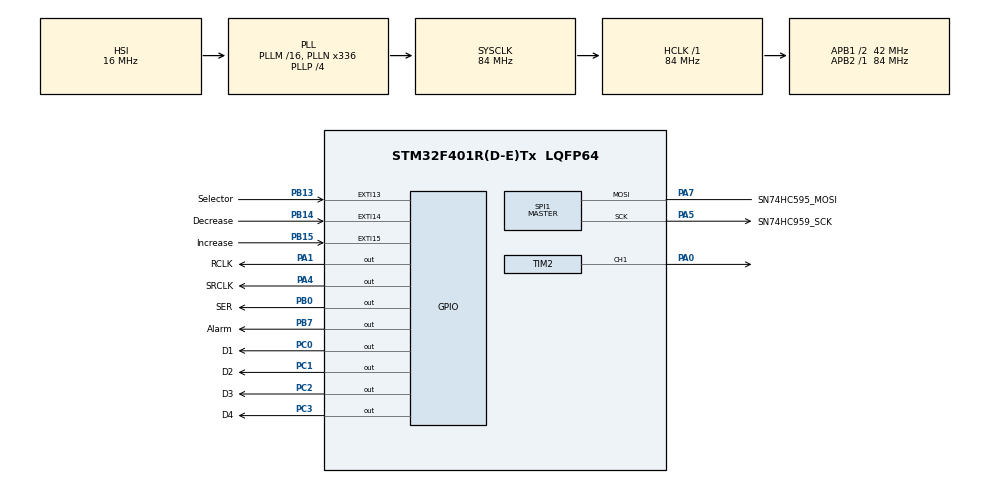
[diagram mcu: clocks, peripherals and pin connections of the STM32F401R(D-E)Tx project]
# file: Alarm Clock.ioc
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Dma.Request0=SPI1_TX
Dma.SPI1_TX.0.Direction=DMA_MEMORY_TO_PERIPH
Dma.SPI1_TX.0.FIFOMode=DMA_FIFOMODE_DISABLE
Dma.SPI1_TX.0.Instance=DMA2_Stream3
Dma.SPI1_TX.0.MemDataAlignment=DMA_MDATAALIGN_BYTE
Dma.SPI1_TX.0.MemInc=DMA_MINC_ENABLE
Dma.SPI1_TX.0.Mode=DMA_NORMAL
Dma.SPI1_TX.0.PeriphDataAlignment=DMA_PDATAALIGN_BYTE
Dma.SPI1_TX.0.PeriphInc=DMA_PINC_DISABLE
Dma.SPI1_TX.0.Priority=DMA_PRIORITY_LOW
Mcu.Family=STM32F4
Mcu.Name=STM32F401R(D-E)Tx
Mcu.Package=LQFP64
NVIC.DMA2_Stream3_IRQn=true\:0\:0\:false\:false\:true\:false\:true\:true
NVIC.EXTI15_10_IRQn=true\:0\:0\:false\:false\:true\:true\:true\:true
NVIC.PriorityGroup=NVIC_PRIORITYGROUP_4
NVIC.RTC_Alarm_IRQn=true\:0\:0\:false\:false\:true\:true\:true\:true
PA0-WKUP.Signal=S_TIM2_CH1_ETR
PA1.GPIO_Label=RCLK
PA1.Signal=GPIO_Output
PA13.GPIO_Label=TMS
PA13.Mode=Trace_Asynchronous_SW
PA13.Signal=SYS_JTMS-SWDIO
PA14.GPIO_Label=TCK
PA14.Mode=Trace_Asynchronous_SW
PA14.Signal=SYS_JTCK-SWCLK
PA4.GPIO_Label=SRCLK
PA4.Signal=GPIO_Output
PA5.GPIO_Label=SN74HC959_SCK
PA5.Mode=Simplex_Bidirectional_Master
PA5.Signal=SPI1_SCK
PA7.GPIO_Label=SN74HC595_MOSI
PA7.Mode=Simplex_Bidirectional_Master
PA7.Signal=SPI1_MOSI
PB0.GPIO_Label=SER
PB0.Signal=GPIO_Output
PB13.GPIO_Label=Selector
PB13.GPIO_PuPd=GPIO_PULLDOWN
PB13.Signal=GPXTI13
PB14.GPIO_Label=Decrease
PB14.GPIO_PuPd=GPIO_PULLDOWN
PB14.Signal=GPXTI14
PB15.GPIO_Label=Increase
PB15.GPIO_PuPd=GPIO_PULLDOWN
PB15.Signal=GPXTI15
PB3.GPIO_Label=SWO
PB3.Mode=Trace_Asynchronous_SW
PB3.Signal=SYS_JTDO-SWO
PB7.GPIO_Label=Alarm
PB7.Signal=GPIO_Output
PC0.GPIO_Label=D1
PC0.Signal=GPIO_Output
PC1.GPIO_Label=D2
PC1.Signal=GPIO_Output
PC14-OSC32_IN.Mode=LSE-External-Oscillator
PC14-OSC32_IN.Signal=RCC_OSC32_IN
PC15-OSC32_OUT.Mode=LSE-External-Oscillator
PC15-OSC32_OUT.Signal=RCC_OSC32_OUT
PC2.GPIO_Label=D3
PC2.Signal=GPIO_Output
PC3.GPIO_Label=D4
PC3.Signal=GPIO_Output
PH0\ -\ OSC_IN.Mode=HSE-External-Clock-Source
PH0\ -\ OSC_IN.Signal=RCC_OSC_IN
PH1\ -\ OSC_OUT.Mode=HSE-External-Clock-Source
PH1\ -\ OSC_OUT.Signal=RCC_OSC_OUT
ProjectManager.HeapSize=0x200
ProjectManager.StackSize=0x400
ProjectManager.TargetToolchain=STM32CubeIDE
RCC.48MHZClocksFreq_Value=48000000
RCC.AHBFreq_Value=84000000
RCC.APB1CLKDivider=RCC_HCLK_DIV2
RCC.APB1Freq_Value=42000000
RCC.APB1TimFreq_Value=84000000
RCC.APB2Freq_Value=84000000
RCC.APB2TimFreq_Value=84000000
RCC.CortexFreq_Value=84000000
RCC.HCLKFreq_Value=84000000
RCC.HSE_VALUE=8000000
RCC.HSI_VALUE=16000000
RCC.PLLN=336
RCC.PLLP=RCC_PLLP_DIV4
RCC.PLLQ=7
RCC.SYSCLKFreq_VALUE=84000000
RCC.SYSCLKSource=RCC_SYSCLKSOURCE_PLLCLK
RCC.VCOOutputFreq_Value=336000000
RTC.Alarm=RTC_ALARM_A
RTC.Seconds=1
SH.S_TIM2_CH1_ETR.0=TIM2_CH1,PWM Generation1 CH1
SPI1.Direction=SPI_DIRECTION_1LINE
SPI1.Mode=SPI_MODE_MASTER
SPI1.VirtualType=VM_MASTER
TIM2.AutoReloadPreload=TIM_AUTORELOAD_PRELOAD_ENABLE
TIM2.Channel-PWM\ Generation1\ CH1=TIM_CHANNEL_1
TIM2.Period=300
VP_RTC_VS_RTC_Activate.Mode=RTC_Enabled
VP_RTC_VS_RTC_Alarm_A_Intern.Mode=Alarm A
VP_RTC_VS_RTC_Calendar.Mode=RTC_Calendar
board=NUCLEO-F401RE

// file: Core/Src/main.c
/* USER CODE BEGIN Header */
/**
  ******************************************************************************
  * @file           : main.c
  * @brief          : Main program body
  ******************************************************************************
  * @attention
  *
  * Copyright (c) 2025 STMicroelectronics.
  * All rights reserved.
  *
  * This software is licensed under terms that can be found in the LICENSE file
  * in the root directory of this software component.
  * If no LICENSE file comes with this software, it is provided AS-IS.
  *
  ******************************************************************************
  */
/* USER CODE END Header */
#include "main.h"

/* USER CODE BEGIN Includes */

#include <stdbool.h>

/* USER CODE END Includes */

RTC_HandleTypeDef hrtc;

SPI_HandleTypeDef hspi1;
DMA_HandleTypeDef hdma_spi1_tx;

TIM_HandleTypeDef htim2;

void SystemClock_Config(void);
static void MX_GPIO_Init(void);
static void MX_DMA_Init(void);
static void MX_RTC_Init(void);
static void MX_TIM2_Init(void);
static void MX_SPI1_Init(void);

/* USER CODE BEGIN 0 */

uint8_t Nums[11];
uint8_t Chars[27];

uint8_t char_bit_map[128] = {
    0, 0, 0, 0, 0, 0, 0, 0, 0, 0, 0, 0, 0, 0, 0, 0, 0, 0, 0, 0, 0, 0, 0, 0, 0, 0, 0, 0, 0, 0, 0, 0, 0, 0, 0, 0, 0, 0, 0, 0, 0, 0, 0, 0, 0, 0, 0, 0,
  	0b11111100, // 0
		0b01100000, // 1
		0b11011010, // 2
		0b11110010, // 3
		0b01100110, // 4
		0b10110110, // 5
		0b10111110, // 6
		0b11100000, // 7
		0b11111110, // 8
		0b11110110, // 9
    0, 0, 0, 0, 0, 0, 0, 0, 0, 0, 0, 0, 0, 0, 0, 0, 0, 0, 0, 0, 0, 0, 0, 0, 0, 0, 0, 0, 0, 0, 0, 0, 0, 0, 0, 0, 0, 0, 0,
    0b11101110,	// a
		0b00111110,	// b
		0b10011100,	// c
		0b01111010,	// d
		0b10011110,	// e
		0b10001110,	// f
		0b10111100,	// g
		0b01101110,	// h
		0b00001100,	// i
		0b01111000,	// j
		0b00000000,	//
		0b00011100,	// l
		0b11010100,	// m
		0b00101010,	// n
		0b11111100,	// o
		0b11001110,	// p
		0b11100110,	// q
		0b00001010,	// r
		0b10110110,	// s
		0b00011110,	// t
		0b00111000,	// u
		0b01111100,	// v
		0b00000000,	//
		0b00000000,	//
		0b01110110,	// y
		0b00000000, //
		0b00000000	// Empty character ( { )
};

sn74hc595_cfg_t hw_cfg;
volatile uint8_t current_digit = 0;
uint8_t display_buffer[4] = { '{', '{', '{', '{',};
uint8_t selectorMode = 0;
uint16_t counterNum = 0;
//uint8_t volume = 10;
uint8_t counterPeriod = htim2.Init.Period; //Find a way to access this value from the code
uint16_t maxDutyCycle = counterPeriod;
uint16_t dutyCycle = 0;
bool alarmSet = false;
bool alarmSounding = false;
bool militaryTime = false;
bool alarmChecked = false;
uint8_t currentTime[5] = {1, 2, 0, 0, 0};
uint8_t maxTime[4] = {1, 2, 5, 9};
uint8_t alarmTime[5] = {0, 0, 0, 0, 0};
void updateTime(){
	currentTime[3] += 1;
	for(int i = 3; i >= 0; i--){
		if(currentTime[i] > maxTime[i]){
			currentTime[i] = 0;
			if(i != 0){
				currentTime[i - 1] += 1;
			}
		}
	}
	if(currentTime[0] == 0 && currentTime[1] == 0){
		if(militaryTime == true){
			currentTime[1] = 0;
		} else {
			currentTime[1] = 1;
			if(currentTime[5] == 1){
				currentTime[5] = 0;
			} else {
				currentTime[5] = 1;
			};
		}
	}
	alarmChecked = false;
};
// void shiftBit(bool bit){
// 	/*This is the reverse since I did the entire codebase thinking that my
// 	display was a common cathode when it wasn't, so changing this one thing
// 	was faster than changing everything else*/
// 	if(bit){
// 		HAL_GPIO_WritePin(SER_GPIO_Port, SER_Pin, GPIO_PIN_RESET);
// 	} else {
// 		HAL_GPIO_WritePin(SER_GPIO_Port, SER_Pin, GPIO_PIN_SET);
// 	}
// 	HAL_GPIO_WritePin(SRCLK_GPIO_Port, SRCLK_Pin, GPIO_PIN_SET);
// 	HAL_GPIO_WritePin(SRCLK_GPIO_Port, SRCLK_Pin, GPIO_PIN_RESET);
// };

void activate_display(uint8_t char_0, uint8_t char_1, uint8_t char_2, uint8_t char_3, uint8_t dot_location){
  display_buffer[0] = char_bit_map[char_0] | (dot_location == 0) ? 0b00000001 : 0;
  display_buffer[1] = char_bit_map[char_1] | (dot_location == 1) ? 0b00000001 : 0;
  display_buffer[2] = char_bit_map[char_2] | (dot_location == 2) ? 0b00000001 : 0;
  display_buffer[3] = char_bit_map[char_3] | (dot_location == 3) ? 0b00000001 : 0;
};

void changeTimeOrAlarm(uint8_t *arr){
	uint8_t newTime[4] = {8, 8, 8, 8};
	for(int i = 0; i < 4; i++){
		while(selectorMode == 0){
			switch(i){
				case 0:
					activateDisplay(counterNum, newTime[1], newTime[2], newTime[3]);
					if(counterNum > maxTime[i]){
						counterNum = maxTime[i];
					}
					break;
				case 1:
					activateDisplay(newTime[0], counterNum, newTime[2], newTime[3]);
					if(counterNum > maxTime[i]){
						counterNum = maxTime[i];
					}
					break;
				case 2:
					activateDisplay(newTime[0], newTime[1], counterNum, newTime[3]);
					if(counterNum > maxTime[i]){
						counterNum = maxTime[i];
					}
					break;
				case 3:
					activateDisplay(newTime[0], newTime[1], newTime[2], counterNum);
						if(counterNum > maxTime[i]){
							counterNum = maxTime[i];
						}
					break;
			}
		}
		newTime[i] = counterNum;
		counterNum = 0;
		selectorMode = 0;
		if(newTime[0] == 0){
			newTime[0] = 10;
		}
	}
	if(militaryTime == false){
		while(selectorMode == 0){
			if(counterNum % 2 == 0){
				activateDisplay('a', 'm', '{', '{');
			} else {
				activateDisplay('{', '{', 'p', 'm');
			}
		}
		// LED dot at the end indicates PM
		if(counterNum % 2 == 0){
			newTime[4] = 0;
		} else {
			newTime[4] = 1;
		}
	}
	for(int i = 0; i < 5; i++){
		arr[i] = newTime[i];
	}
};
void HAL_GPIO_EXTI_Callback(uint16_t GPIO_Pin)
{
 	 if(GPIO_Pin == Selector_Pin){
 		 selectorMode += 1;
 	 } else if (GPIO_Pin == Decrease_Pin){
 		 if(counterNum > 0){
 			 counterNum--;
 		 }
 	 } else if (GPIO_Pin == Increase_Pin){
 		 counterNum++;
 }
}

/* USER CODE END 0 */

int main(void)
{

  /* MCU Configuration--------------------------------------------------------*/

  /* Reset of all peripherals, Initializes the Flash interface and the Systick. */
  HAL_Init();

  /* Configure the system clock */
  SystemClock_Config();

  /* Initialize all configured peripherals */
  MX_GPIO_Init();
  MX_DMA_Init();
  MX_RTC_Init();
  MX_TIM2_Init();
  MX_SPI1_Init();
  /* USER CODE BEGIN 2 */

  HAL_TIM_PWM_Start(&htim2, TIM_CHANNEL_1);
  HAL_TIM_Base_Start_IT(&htim2);
  if (sn74hc595_config( &hw_cfg, &hspi1, RCLK_GPIO_Port, RCLK_Pin, 3) != 0){
    return -1;
  }

  HAL_SPI_Transmit_DMA(&hspi1, 0x00, 1);

  /* USER CODE END 2 */

  /* Infinite loop */
  /* USER CODE BEGIN WHILE */
  while (1)
  {
	  activateDisplay(currentTime[0], currentTime[1], currentTime[2], currentTime[3], currentTime[4]);

	  if(selectorMode > 0){

		if(alarmSounding == true){
			alarmSounding = false;
			TIM2->CCR1 = 0;

		} else {

		  counterNum = 0;
		  selectorMode = 1;

		  while(selectorMode == 1){
			  switch(counterNum){
				case 0: activateDisplay('a', 'l', 'r', 'm'); break;
				case 1: activateDisplay('t', 'i', 'm', 'e'); break;
				//case 2: activateDisplay('v', 'o', 'l'); break;
				case 2: activateDisplay('l', 'e', 'd', '{'); break;
				case 3:	if(militaryTime){activateDisplay(2, 4, 'h', 'r');} else {activateDisplay(1, 2, 'h', 'r');}; break;
				case 4: activateDisplay('c', 'n', 'c', 'l'); break;
				case 5: counterNum--; break;
				default: counterNum = 0;
			  }
		  }

		  selectorMode = 0;
		  if(counterNum == 0){
			  changeTimeOrAlarm(alarmTime);

		  } else if(counterNum == 1){
			counterNum = 0;
			changeTimeOrAlarm(currentTime);
		  } /* else if(counterNum == 2){
			counterNum = 0;
			while(selectorMode == 0){
				if(counterNum > 9){
					activateDisplay('t', 'o', 'p');
					counterNum = 10;
				} else {
					activateDisplay('v', 'o', 'l', counterNum);
				}
			}
			volume = counterNum;
			selectorMode = 0;
		  } */ else if(counterNum == 2){
			counterNum = 0;
			while(selectorMode == 0){
				if(counterNum > 9){
					activateDisplay('t', 'o', 'p', '{');
					counterNum = 10;
				} else {
					activateDisplay('l', 'e', 'd', counterNum);
				}
			}
			maxDutyCycle = (counterPeriod * counterNum ) / 10;
			selectorMode = 0;
		  }	else if (counterNum == 3){
			counterNum = 0;
				while(selectorMode == 0){
					if(counterNum % 2 == 0){
						activateDisplay(1, 2, 'h', 'r');
					} else {
						activateDisplay(2, 4, 'h', 'r');
					}
					if(counterNum % 2 == 0){
					militaryTime = false;
					} else {
					militaryTime = true;
					}
				}
				if(militaryTime == false){
					if(currentTime[0] > 1 || currentTime[1] > 2){
						int temp = currentTime[1] - 2;
						if(temp == -1){
							currentTime[1] = 9;
						} else if(temp == -2){
							currentTime[1] = 2;
						} else {
							currentTime[1] = temp;
						}
						currentTime[0] -= 1;
						currentTime[4] = 1;
					}
				}
				if(militaryTime == true && currentTime[4] == 1){
					currentTime[0] += 1;
					currentTime[1] += 2;
					currentTime[4] = 0;
				}
		  } else if (counterNum == 4){
			  counterNum = 0;
		  }
		 }
	  }
	  if(alarmSet == true && alarmChecked == false){
		if(militaryTime == true){
			if( alarmTime[3] == currentTime[3] &&
				alarmTime[2] == currentTime[2] &&
  	   	   	  ((alarmTime[1] == currentTime[1] ) ||
  	   	   	   (alarmTime[1] == 0 && currentTime[1] == 3) )){
					TIM2->CCR1 = maxDutyCycle / 6;
			} else {
				for(int i = 5; i > 0; i--){
					if( (currentTime[2] + i) == alarmTime[2] ){
						TIM2->CCR1 = maxDutyCycle - maxDutyCycle * i / 6;
						break;
					}
				}
			alarmChecked = true;
			}
		} else {
			if(alarmTime[3] == currentTime[3] && alarmTime[2] == currentTime[2] &&
  	   	   ( (alarmTime[1] == currentTime[1] ) || ((alarmTime[1] == 1 && currentTime[1] == 12) && (alarmTime[5] != currentTime[5]) ) )){
				TIM2->CCR1 = maxDutyCycle / 6;
			} else {
				for(int i = 5; i > 0; i--){
					if( (currentTime[2] + i) == alarmTime[2] ){
						TIM2->CCR1 = maxDutyCycle - maxDutyCycle * i / 6;
						break;
					}
				}
				alarmChecked = true;
			}
		}
	  }
    /* USER CODE END WHILE */

  }
}

void SystemClock_Config(void)
{
  RCC_OscInitTypeDef RCC_OscInitStruct = {0};
  RCC_ClkInitTypeDef RCC_ClkInitStruct = {0};

  /** Configure the main internal regulator output voltage
  */
  __HAL_RCC_PWR_CLK_ENABLE();
  __HAL_PWR_VOLTAGESCALING_CONFIG(PWR_REGULATOR_VOLTAGE_SCALE2);

  /** Initializes the RCC Oscillators according to the specified parameters
  * in the RCC_OscInitTypeDef structure.
  */
  RCC_OscInitStruct.OscillatorType = RCC_OSCILLATORTYPE_HSI|RCC_OSCILLATORTYPE_LSI;
  RCC_OscInitStruct.HSIState = RCC_HSI_ON;
  RCC_OscInitStruct.HSICalibrationValue = RCC_HSICALIBRATION_DEFAULT;
  RCC_OscInitStruct.LSIState = RCC_LSI_ON;
  RCC_OscInitStruct.PLL.PLLState = RCC_PLL_ON;
  RCC_OscInitStruct.PLL.PLLSource = RCC_PLLSOURCE_HSI;
  RCC_OscInitStruct.PLL.PLLM = 16;
  RCC_OscInitStruct.PLL.PLLN = 336;
  RCC_OscInitStruct.PLL.PLLP = RCC_PLLP_DIV4;
  RCC_OscInitStruct.PLL.PLLQ = 7;
  if (HAL_RCC_OscConfig(&RCC_OscInitStruct) != HAL_OK)
  {
    Error_Handler();
  }

  /** Initializes the CPU, AHB and APB buses clocks
  */
  RCC_ClkInitStruct.ClockType = RCC_CLOCKTYPE_HCLK|RCC_CLOCKTYPE_SYSCLK
                              |RCC_CLOCKTYPE_PCLK1|RCC_CLOCKTYPE_PCLK2;
  RCC_ClkInitStruct.SYSCLKSource = RCC_SYSCLKSOURCE_PLLCLK;
  RCC_ClkInitStruct.AHBCLKDivider = RCC_SYSCLK_DIV1;
  RCC_ClkInitStruct.APB1CLKDivider = RCC_HCLK_DIV2;
  RCC_ClkInitStruct.APB2CLKDivider = RCC_HCLK_DIV1;

  if (HAL_RCC_ClockConfig(&RCC_ClkInitStruct, FLASH_LATENCY_2) != HAL_OK)
  {
    Error_Handler();
  }
}

static void MX_RTC_Init(void)
{

  RTC_TimeTypeDef sTime = {0};
  RTC_DateTypeDef sDate = {0};
  RTC_AlarmTypeDef sAlarm = {0};

  /** Initialize RTC Only
  */
  hrtc.Instance = RTC;
  hrtc.Init.HourFormat = RTC_HOURFORMAT_24;
  hrtc.Init.AsynchPrediv = 127;
  hrtc.Init.SynchPrediv = 255;
  hrtc.Init.OutPut = RTC_OUTPUT_DISABLE;
  hrtc.Init.OutPutPolarity = RTC_OUTPUT_POLARITY_HIGH;
  hrtc.Init.OutPutType = RTC_OUTPUT_TYPE_OPENDRAIN;
  if (HAL_RTC_Init(&hrtc) != HAL_OK)
  {
    Error_Handler();
  }

  /** Initialize RTC and set the Time and Date
  */
  sTime.Hours = 0x0;
  sTime.Minutes = 0x0;
  sTime.Seconds = 0x1;
  sTime.DayLightSaving = RTC_DAYLIGHTSAVING_NONE;
  sTime.StoreOperation = RTC_STOREOPERATION_RESET;
  if (HAL_RTC_SetTime(&hrtc, &sTime, RTC_FORMAT_BCD) != HAL_OK)
  {
    Error_Handler();
  }
  sDate.WeekDay = RTC_WEEKDAY_MONDAY;
  sDate.Month = RTC_MONTH_JANUARY;
  sDate.Date = 0x1;
  sDate.Year = 0x0;

  if (HAL_RTC_SetDate(&hrtc, &sDate, RTC_FORMAT_BCD) != HAL_OK)
  {
    Error_Handler();
  }

  /** Enable the Alarm A
  */
  sAlarm.AlarmTime.Hours = 0x0;
  sAlarm.AlarmTime.Minutes = 0x0;
  sAlarm.AlarmTime.Seconds = 0x0;
  sAlarm.AlarmTime.SubSeconds = 0x0;
  sAlarm.AlarmTime.DayLightSaving = RTC_DAYLIGHTSAVING_NONE;
  sAlarm.AlarmTime.StoreOperation = RTC_STOREOPERATION_RESET;
  sAlarm.AlarmMask = RTC_ALARMMASK_NONE;
  sAlarm.AlarmSubSecondMask = RTC_ALARMSUBSECONDMASK_ALL;
  sAlarm.AlarmDateWeekDaySel = RTC_ALARMDATEWEEKDAYSEL_DATE;
  sAlarm.AlarmDateWeekDay = 0x1;
  sAlarm.Alarm = RTC_ALARM_A;
  if (HAL_RTC_SetAlarm_IT(&hrtc, &sAlarm, RTC_FORMAT_BCD) != HAL_OK)
  {
    Error_Handler();
  }

}

static void MX_SPI1_Init(void)
{

  /* SPI1 parameter configuration*/
  hspi1.Instance = SPI1;
  hspi1.Init.Mode = SPI_MODE_MASTER;
  hspi1.Init.Direction = SPI_DIRECTION_1LINE;
  hspi1.Init.DataSize = SPI_DATASIZE_8BIT;
  hspi1.Init.CLKPolarity = SPI_POLARITY_LOW;
  hspi1.Init.CLKPhase = SPI_PHASE_1EDGE;
  hspi1.Init.NSS = SPI_NSS_SOFT;
  hspi1.Init.BaudRatePrescaler = SPI_BAUDRATEPRESCALER_2;
  hspi1.Init.FirstBit = SPI_FIRSTBIT_MSB;
  hspi1.Init.TIMode = SPI_TIMODE_DISABLE;
  hspi1.Init.CRCCalculation = SPI_CRCCALCULATION_DISABLE;
  hspi1.Init.CRCPolynomial = 10;
  if (HAL_SPI_Init(&hspi1) != HAL_OK)
  {
    Error_Handler();
  }

}

static void MX_TIM2_Init(void)
{

  TIM_MasterConfigTypeDef sMasterConfig = {0};
  TIM_OC_InitTypeDef sConfigOC = {0};

  htim2.Instance = TIM2;
  htim2.Init.Prescaler = 0;
  htim2.Init.CounterMode = TIM_COUNTERMODE_UP;
  htim2.Init.Period = 300;
  htim2.Init.ClockDivision = TIM_CLOCKDIVISION_DIV1;
  htim2.Init.AutoReloadPreload = TIM_AUTORELOAD_PRELOAD_ENABLE;
  if (HAL_TIM_PWM_Init(&htim2) != HAL_OK)
  {
    Error_Handler();
  }
  sMasterConfig.MasterOutputTrigger = TIM_TRGO_RESET;
  sMasterConfig.MasterSlaveMode = TIM_MASTERSLAVEMODE_DISABLE;
  if (HAL_TIMEx_MasterConfigSynchronization(&htim2, &sMasterConfig) != HAL_OK)
  {
    Error_Handler();
  }
  sConfigOC.OCMode = TIM_OCMODE_PWM1;
  sConfigOC.Pulse = 0;
  sConfigOC.OCPolarity = TIM_OCPOLARITY_HIGH;
  sConfigOC.OCFastMode = TIM_OCFAST_DISABLE;
  if (HAL_TIM_PWM_ConfigChannel(&htim2, &sConfigOC, TIM_CHANNEL_1) != HAL_OK)
  {
    Error_Handler();
  }
  HAL_TIM_MspPostInit(&htim2);

}

static void MX_DMA_Init(void)
{

  /* DMA controller clock enable */
  __HAL_RCC_DMA2_CLK_ENABLE();

  /* DMA interrupt init */
  /* DMA2_Stream3_IRQn interrupt configuration */
  HAL_NVIC_SetPriority(DMA2_Stream3_IRQn, 0, 0);
  HAL_NVIC_EnableIRQ(DMA2_Stream3_IRQn);

}

static void MX_GPIO_Init(void)
{
  GPIO_InitTypeDef GPIO_InitStruct = {0};

  /* GPIO Ports Clock Enable */
  __HAL_RCC_GPIOC_CLK_ENABLE();
  __HAL_RCC_GPIOH_CLK_ENABLE();
  __HAL_RCC_GPIOA_CLK_ENABLE();
  __HAL_RCC_GPIOB_CLK_ENABLE();

  /*Configure GPIO pin Output Level */
  HAL_GPIO_WritePin(GPIOC, D1_Pin|D2_Pin|D3_Pin|D4_Pin, GPIO_PIN_RESET);

  /*Configure GPIO pin Output Level */
  HAL_GPIO_WritePin(GPIOA, RCLK_Pin|SRCLK_Pin, GPIO_PIN_RESET);

  /*Configure GPIO pin Output Level */
  HAL_GPIO_WritePin(GPIOB, SER_Pin|Alarm_Pin, GPIO_PIN_RESET);

  /*Configure GPIO pins : D1_Pin D2_Pin D3_Pin D4_Pin */
  GPIO_InitStruct.Pin = D1_Pin|D2_Pin|D3_Pin|D4_Pin;
  GPIO_InitStruct.Mode = GPIO_MODE_OUTPUT_PP;
  GPIO_InitStruct.Pull = GPIO_NOPULL;
  GPIO_InitStruct.Speed = GPIO_SPEED_FREQ_LOW;
  HAL_GPIO_Init(GPIOC, &GPIO_InitStruct);

  /*Configure GPIO pins : RCLK_Pin SRCLK_Pin */
  GPIO_InitStruct.Pin = RCLK_Pin|SRCLK_Pin;
  GPIO_InitStruct.Mode = GPIO_MODE_OUTPUT_PP;
  GPIO_InitStruct.Pull = GPIO_NOPULL;
  GPIO_InitStruct.Speed = GPIO_SPEED_FREQ_LOW;
  HAL_GPIO_Init(GPIOA, &GPIO_InitStruct);

  /*Configure GPIO pins : SER_Pin Alarm_Pin */
  GPIO_InitStruct.Pin = SER_Pin|Alarm_Pin;
  GPIO_InitStruct.Mode = GPIO_MODE_OUTPUT_PP;
  GPIO_InitStruct.Pull = GPIO_NOPULL;
  GPIO_InitStruct.Speed = GPIO_SPEED_FREQ_LOW;
  HAL_GPIO_Init(GPIOB, &GPIO_InitStruct);

  /*Configure GPIO pins : Selector_Pin Decrease_Pin Increase_Pin */
  GPIO_InitStruct.Pin = Selector_Pin|Decrease_Pin|Increase_Pin;
  GPIO_InitStruct.Mode = GPIO_MODE_IT_RISING;
  GPIO_InitStruct.Pull = GPIO_PULLDOWN;
  HAL_GPIO_Init(GPIOB, &GPIO_InitStruct);

  /* EXTI interrupt init*/
  HAL_NVIC_SetPriority(EXTI15_10_IRQn, 0, 0);
  HAL_NVIC_EnableIRQ(EXTI15_10_IRQn);

}

/* USER CODE BEGIN 4 */

void HAL_RTC_AlarmAEventCallback(RTC_HandleTypeDef *hrtc) {
  RTC_AlarmTypeDef sAlarm;
  HAL_RTC_GetAlarm(hrtc,&sAlarm,RTC_ALARM_A,FORMAT_BIN);
  if(sAlarm.AlarmTime.Seconds>58) {
    sAlarm.AlarmTime.Seconds=0;
  }else{
    sAlarm.AlarmTime.Seconds=sAlarm.AlarmTime.Seconds+1;
  }
    while(HAL_RTC_SetAlarm_IT(hrtc, &sAlarm, FORMAT_BIN)!=HAL_OK){}
    HAL_GPIO_TogglePin(GPIOA, GPIO_PIN_5);
}

void HAL_SPI_TxCpltCallback(SPI_HandleTypeDef *hspi)
{
    if(hspi->Instance == hw_cfg->hspi)
    {
      switch (current_digit){
        case 0:
        HAL_GPIO_WritePin(D4_GPIO_Port, D4_Pin, GPIO_PIN_RESET);
        sn74hc595_shift_byte(hw_cfg, display_buffer[0]);
        sn74hc595_latch_data(hw_cfg);
        HAL_GPIO_WritePin(D1_GPIO_Port, D1_Pin, GPIO_PIN_SET);
        current_digit = 1;
        break;
        case 1:
        HAL_GPIO_WritePin(D1_GPIO_Port, D1_Pin, GPIO_PIN_RESET);
        sn74hc595_shift_byte(hw_cfg, display_buffer[1]);
        sn74hc595_latch_data(hw_cfg);
        HAL_GPIO_WritePin(D2_GPIO_Port, D2_Pin, GPIO_PIN_SET);
        current_digit = 2;
        break;
        case 2:
        HAL_GPIO_WritePin(D2_GPIO_Port, D2_Pin, GPIO_PIN_RESET);
        sn74hc595_shift_byte(hw_cfg, display_buffer[2]);
        sn74hc595_latch_data(hw_cfg);
        HAL_GPIO_WritePin(D3_GPIO_Port, D3_Pin, GPIO_PIN_SET);
        current_digit = 3;
        break;
        case 3:
        HAL_GPIO_WritePin(D3_GPIO_Port, D3_Pin, GPIO_PIN_RESET);
        sn74hc595_shift_byte(hw_cfg, display_buffer[3]);
        sn74hc595_latch_data(hw_cfg);
        HAL_GPIO_WritePin(D4_GPIO_Port, D4_Pin, GPIO_PIN_SET);
        current_digit = 0;
        break;
      }
    }
}

/* USER CODE END 4 */

void Error_Handler(void)
{
  __disable_irq();
  while (1)
  {
  }
}
